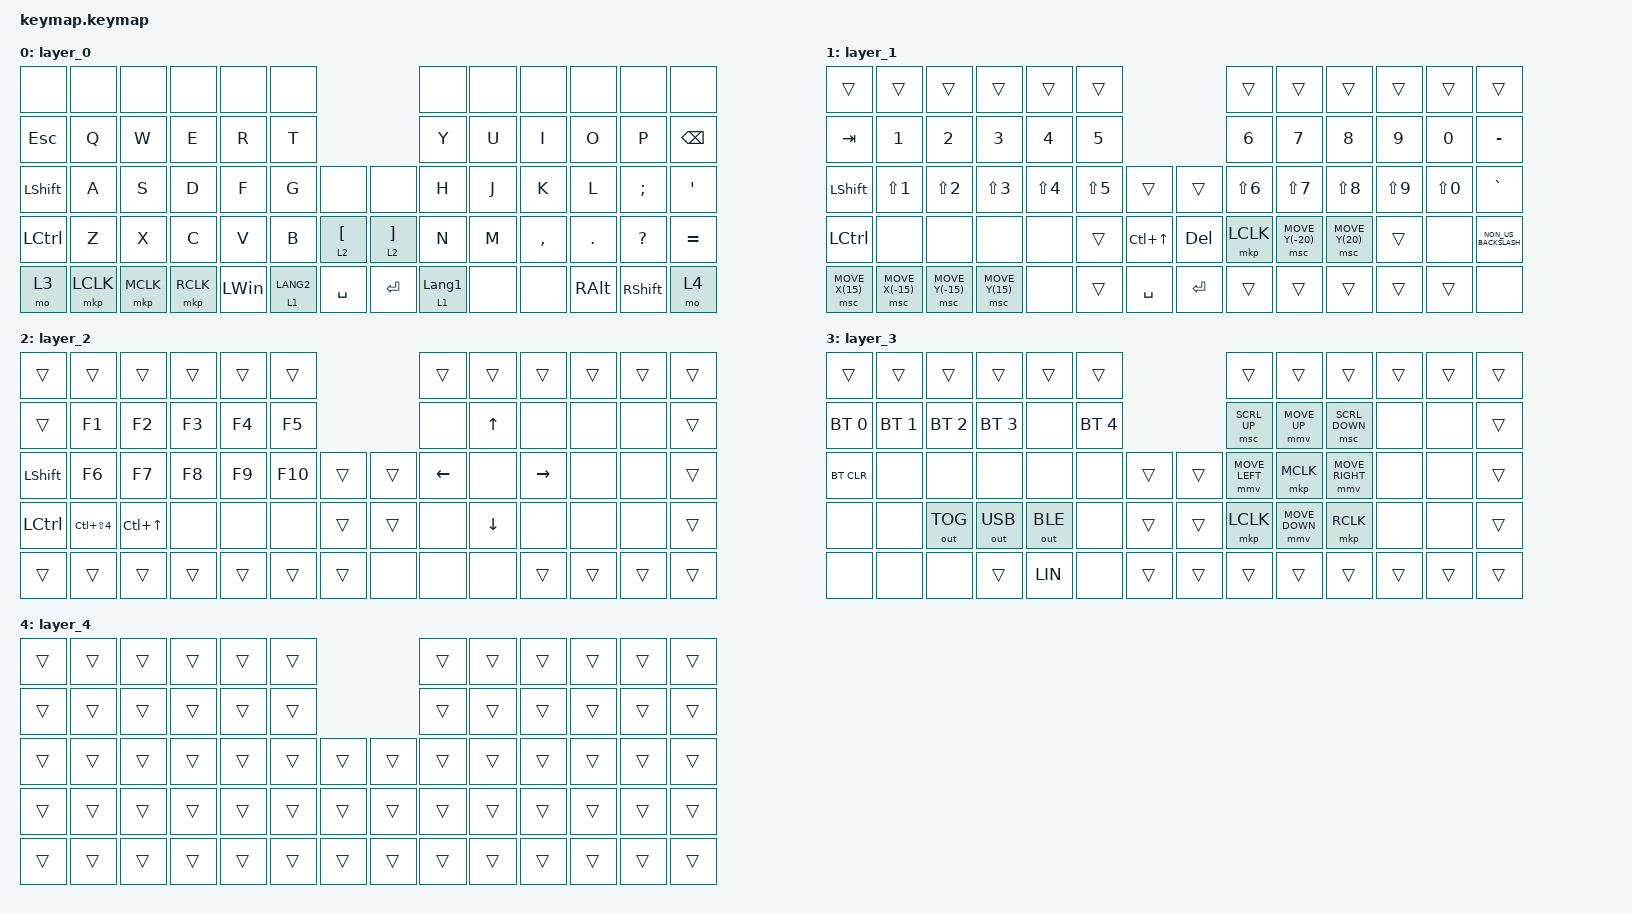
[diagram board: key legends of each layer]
#include <behaviors.dtsi>
#include <dt-bindings/zmk/bt.h>
#include <dt-bindings/zmk/keys.h>
#include <dt-bindings/zmk/outputs.h>
#include <dt-bindings/zmk/pointing.h>

/ {
    combos {
        compatible = "zmk,combos";

        bt_clear {
            bindings = <&bt BT_CLR>;
            key-positions = <43 41>;
            layers = <2>;
        };
    };

    macros {
        LIN: LIN {
            compatible = "zmk,behavior-macro";
            #binding-cells = <0>;
            bindings = <&kp P &kp A &kp N &kp G &kp E &kp A>;
            label = "LIN";
        };
    };

    keymap {
        compatible = "zmk,keymap";

        layer_0 {
            bindings = <
&none             &none      &none      &none      &none         &none                                                 &none             &none  &none      &none          &none            &none
&kp ESC           &kp Q      &kp W      &kp E      &kp R         &kp T                                                 &kp Y             &kp U  &kp I      &kp O          &kp P            &kp BSPC
&kp LEFT_SHIFT    &kp A      &kp S      &kp D      &kp F         &kp G        &none               &none                &kp H             &kp J  &kp K      &kp L          &kp SEMI         &kp SQT
&kp LEFT_CONTROL  &kp Z      &kp X      &kp C      &kp V         &kp B        &lt 2 LEFT_BRACKET  &lt 2 RIGHT_BRACKET  &kp N             &kp M  &kp COMMA  &kp DOT        &kp QUESTION     &kp EQUAL
&mo 3             &mkp LCLK  &mkp MCLK  &mkp RCLK  &kp LEFT_WIN  &lt 1 LANG2  &kp SPACE           &kp RETURN           &lt 1 LANGUAGE_1  &none  &none      &kp RIGHT_ALT  &kp RIGHT_SHIFT  &mo 4
            >;
        };

        layer_1 {
            bindings = <
&trans           &trans            &trans            &trans            &trans            &trans                                    &trans            &trans            &trans           &trans      &trans      &trans
&kp TAB          &kp NUMBER_1      &kp NUMBER_2      &kp NUMBER_3      &kp NUMBER_4      &kp N5                                    &kp NUMBER_6      &kp N7            &kp N8           &kp N9      &kp N0      &kp MINUS
&kp LEFT_SHIFT   &kp LS(NUMBER_1)  &kp LS(NUMBER_2)  &kp LS(NUMBER_3)  &kp LS(NUMBER_4)  &kp LS(N5)  &trans            &trans      &kp LS(NUMBER_6)  &kp LS(N7)        &kp LS(N8)       &kp LS(N9)  &kp LS(N0)  &kp GRAVE
&kp LCTRL        &none             &none             &none             &none             &trans      &kp LC(UP_ARROW)  &kp DELETE  &mkp LCLK         &msc MOVE_Y(-20)  &msc MOVE_Y(20)  &trans      &none       &kp NON_US_BACKSLASH
&msc MOVE_X(15)  &msc MOVE_X(-15)  &msc MOVE_Y(-15)  &msc MOVE_Y(15)   &none             &trans      &kp SPACE         &kp ENTER   &trans            &trans            &trans           &trans      &trans      &none
            >;
        };

        layer_2 {
            bindings = <
&trans            &trans          &trans            &trans  &trans  &trans                   &trans          &trans          &trans           &trans  &trans  &trans
&trans            &kp F1          &kp F2            &kp F3  &kp F4  &kp F5                   &none           &kp UP_ARROW    &none            &none   &none   &trans
&kp LEFT_SHIFT    &kp F6          &kp F7            &kp F8  &kp F9  &kp F10  &trans  &trans  &kp LEFT_ARROW  &none           &kp RIGHT_ARROW  &none   &none   &trans
&kp LEFT_CONTROL  &kp LC(LS(N4))  &kp LC(UP_ARROW)  &none   &none   &none    &trans  &trans  &none           &kp DOWN_ARROW  &none            &none   &none   &trans
&trans            &trans          &trans            &trans  &trans  &trans   &trans  &none   &none           &none           &trans           &trans  &trans  &trans
            >;
        };

        layer_3 {
            bindings = <
&trans        &trans        &trans        &trans        &trans        &trans                        &trans          &trans          &trans           &trans  &trans  &trans
&bt BT_SEL 0  &bt BT_SEL 1  &bt BT_SEL 2  &bt BT_SEL 3  &none         &bt BT_SEL 4                  &msc SCRL_UP    &mmv MOVE_UP    &msc SCRL_DOWN   &none   &none   &trans
&bt BT_CLR    &none         &none         &none         &none         &none         &trans  &trans  &mmv MOVE_LEFT  &mkp MCLK       &mmv MOVE_RIGHT  &none   &none   &trans
&none         &none         &out OUT_TOG  &out OUT_USB  &out OUT_BLE  &none         &trans  &trans  &mkp LCLK       &mmv MOVE_DOWN  &mkp RCLK        &none   &none   &trans
&none         &none         &none         &trans        &LIN          &none         &trans  &trans  &trans          &trans          &trans           &trans  &trans  &trans
            >;
        };

        layer_4 {
            bindings = <
&trans  &trans  &trans  &trans  &trans  &trans                  &trans  &trans  &trans  &trans  &trans  &trans
&trans  &trans  &trans  &trans  &trans  &trans                  &trans  &trans  &trans  &trans  &trans  &trans
&trans  &trans  &trans  &trans  &trans  &trans  &trans  &trans  &trans  &trans  &trans  &trans  &trans  &trans
&trans  &trans  &trans  &trans  &trans  &trans  &trans  &trans  &trans  &trans  &trans  &trans  &trans  &trans
&trans  &trans  &trans  &trans  &trans  &trans  &trans  &trans  &trans  &trans  &trans  &trans  &trans  &trans
            >;
        };
    };
};
